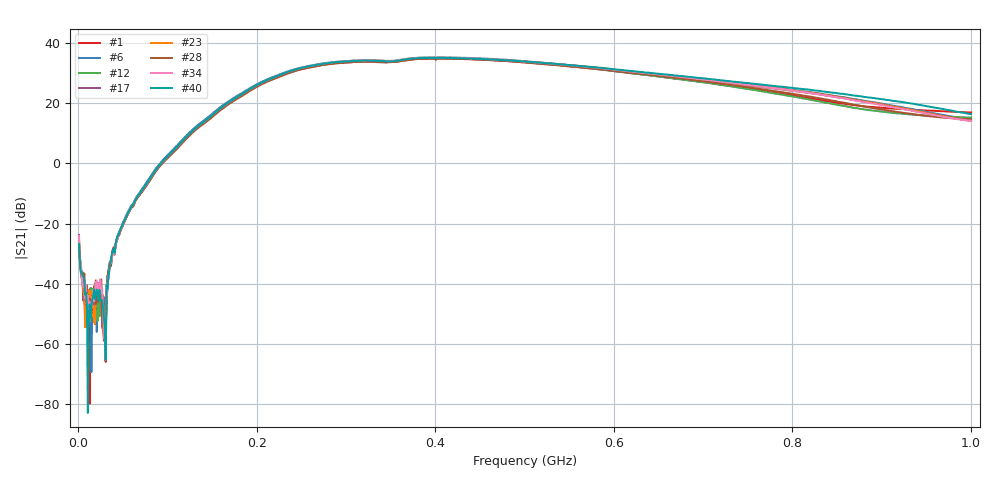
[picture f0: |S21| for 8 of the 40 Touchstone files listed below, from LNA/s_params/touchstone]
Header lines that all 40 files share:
! Created with skrf 1.9.0 (http://scikit-rf.org).
# Hz S RI R 50.0
!freq ReS11 ImS11 ReS21 ImS21 ReS12 ImS12 ReS22 ImS22
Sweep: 1 MHz to 1 GHz
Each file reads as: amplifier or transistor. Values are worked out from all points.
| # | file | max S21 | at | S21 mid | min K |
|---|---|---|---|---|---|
| 1 | LNA00392P2.s2p | 34.8 dB | 394.6 MHz | 33.5 dB at 500.5 MHz | -17.33 |
| 2 | LNA00393P1.s2p | 34.8 dB | 394.6 MHz | 33.6 dB at 500.5 MHz | -27.23 |
| 3 | LNA00393P2.s2p | 34.9 dB | 406.6 MHz | 33.8 dB at 500.5 MHz | -529.10 |
| 4 | LNA00394P1.s2p | 34.9 dB | 394.6 MHz | 33.7 dB at 500.5 MHz | -41.06 |
| 5 | LNA00394P2.s2p | 35.0 dB | 403.6 MHz | 33.7 dB at 500.5 MHz | -185.22 |
| 6 | LNA00395P1.s2p | 35.2 dB | 404.6 MHz | 34.0 dB at 500.5 MHz | -0.72 |
| 7 | LNA00395P2.s2p | 35.3 dB | 394.6 MHz | 34.0 dB at 500.5 MHz | -151.36 |
| 8 | LNA00396P1.s2p | 34.7 dB | 404.6 MHz | 33.5 dB at 500.5 MHz | -115.62 |
| 9 | LNA00396P2.s2p | 34.9 dB | 406.6 MHz | 33.7 dB at 500.5 MHz | -322.33 |
| 10 | LNA00397P1.s2p | 34.9 dB | 404.6 MHz | 33.6 dB at 500.5 MHz | -65.31 |
| 11 | LNA00397P2.s2p | 35.0 dB | 394.6 MHz | 33.7 dB at 500.5 MHz | -88.90 |
| 12 | LNA00398P1.s2p | 35.0 dB | 394.6 MHz | 33.7 dB at 500.5 MHz | -18.77 |
| 13 | LNA00398P2.s2p | 35.1 dB | 394.6 MHz | 33.9 dB at 500.5 MHz | -14.23 |
| 14 | LNA00399P1.s2p | 35.0 dB | 394.6 MHz | 33.8 dB at 500.5 MHz | -384.74 |
| 15 | LNA00399P2.s2p | 35.1 dB | 394.6 MHz | 33.8 dB at 500.5 MHz | -81.49 |
| 16 | LNA00400P1.s2p | 35.1 dB | 404.6 MHz | 33.8 dB at 500.5 MHz | -64.14 |
| 17 | LNA00400P2.s2p | 34.9 dB | 394.6 MHz | 33.6 dB at 500.5 MHz | -124.12 |
| 18 | LNA00401P1.s2p | 34.9 dB | 404.6 MHz | 33.8 dB at 500.5 MHz | -362.83 |
| 19 | LNA00401P2.s2p | 35.0 dB | 394.6 MHz | 33.8 dB at 500.5 MHz | -1007.72 |
| 20 | LNA00402P1.s2p | 35.1 dB | 404.6 MHz | 33.9 dB at 500.5 MHz | -855.54 |
| 21 | LNA00402P2.s2p | 35.1 dB | 404.6 MHz | 33.9 dB at 500.5 MHz | -501.17 |
| 22 | LNA00403P1.s2p | 35.1 dB | 404.6 MHz | 33.8 dB at 500.5 MHz | -2450.42 |
| 23 | LNA00403P2.s2p | 34.9 dB | 404.6 MHz | 33.9 dB at 500.5 MHz | -774.26 |
| 24 | LNA00404P1.s2p | 34.9 dB | 404.6 MHz | 33.5 dB at 500.5 MHz | -2091.04 |
| 25 | LNA00404P2.s2p | 34.9 dB | 404.6 MHz | 33.7 dB at 500.5 MHz | -720.06 |
| 26 | LNA00405P1.s2p | 35.1 dB | 394.6 MHz | 33.8 dB at 500.5 MHz | -1358.45 |
| 27 | LNA00405P2.s2p | 35.1 dB | 404.6 MHz | 33.8 dB at 500.5 MHz | -1509.71 |
| 28 | LNA00406P1.s2p | 34.8 dB | 394.6 MHz | 33.6 dB at 500.5 MHz | -231.04 |
| 29 | LNA00406P2.s2p | 34.8 dB | 416.6 MHz | 33.2 dB at 500.5 MHz | 0.49 |
| 30 | LNA00407P1.s2p | 34.9 dB | 410.6 MHz | 33.7 dB at 500.5 MHz | -0.60 |
| 31 | LNA00407P2.s2p | 35.0 dB | 404.6 MHz | 33.8 dB at 500.5 MHz | -57.41 |
| 32 | LNA00408P1.s2p | 35.1 dB | 406.6 MHz | 33.9 dB at 500.5 MHz | -14.24 |
| 33 | LNA00408P2.s2p | 35.0 dB | 394.6 MHz | 33.8 dB at 500.5 MHz | -18.80 |
| 34 | LNA00409P1.s2p | 35.2 dB | 394.6 MHz | 33.9 dB at 500.5 MHz | -10.94 |
| 35 | LNA00409P2.s2p | 35.0 dB | 404.6 MHz | 33.8 dB at 500.5 MHz | -5.24 |
| 36 | LNA00410P1.s2p | 35.0 dB | 404.6 MHz | 33.6 dB at 500.5 MHz | -78.14 |
| 37 | LNA00410P2.s2p | 35.0 dB | 394.6 MHz | 33.7 dB at 500.5 MHz | -18.71 |
| 38 | LNA00411P1.s2p | 34.9 dB | 404.6 MHz | 33.6 dB at 500.5 MHz | -7.36 |
| 39 | LNA00411P2.s2p | 35.0 dB | 404.6 MHz | 33.8 dB at 500.5 MHz | -8.36 |
| 40 | LNA00412P1.s2p | 35.0 dB | 394.6 MHz | 33.9 dB at 500.5 MHz | -43.35 |
